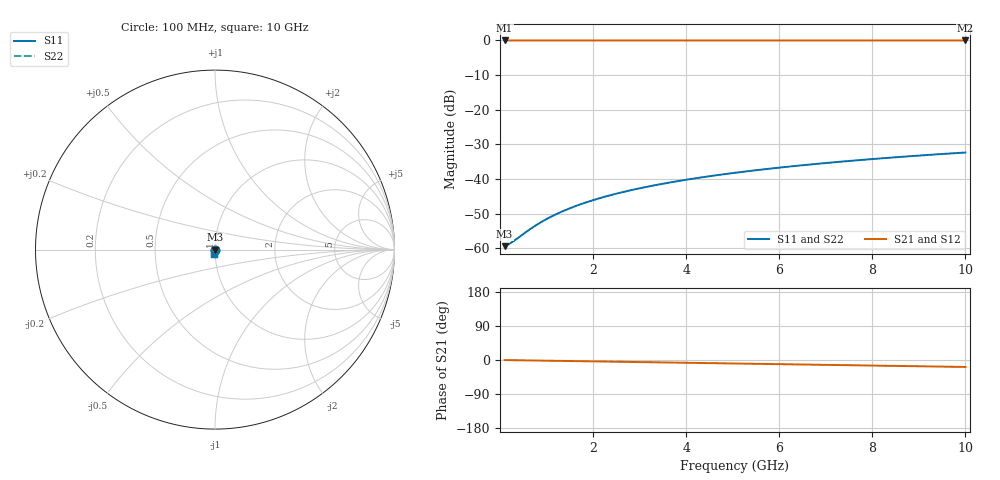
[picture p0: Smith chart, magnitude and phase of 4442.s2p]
# Hz S RI R 50.00
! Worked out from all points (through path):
!   100 points, 100 MHz to 10 GHz, reference 50 ohm
!   highest |S21| = -0.01 dB at 100 MHz (marker M1); lowest = 0.0 dB at 10 GHz (marker M2)
!   group delay of S21, straight-line fit = 5.1 ps
!   lowest |S11| = -59.4 dB at 100 MHz (marker M3), VSWR 1.00, Z = 50.1 - j0.0244 ohm
!   |S11| at or under -10 dB: start of sweep to end of sweep
!   |S22| runs from -59.4 to -32.4 dB; largest |S21 - S12| = 1e-13
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1e8  0.00104 -0.000243  0.999 -0.00318  0.999 -0.00318  0.00104 -0.000243
2e8  0.00104 -0.000487  0.9989 -0.00636  0.9989 -0.00636  0.00104 -0.000487
3e8  0.00104 -0.00073  0.9989 -0.00954  0.9989 -0.00954  0.00104 -0.00073
7e8  0.00102 -0.0017  0.9987 -0.0223  0.9987 -0.0223  0.00102 -0.0017
8e8  0.00101 -0.00195  0.9986 -0.0254  0.9986 -0.0254  0.00101 -0.00195
1e9  0.000981 -0.00243  0.9984 -0.0318  0.9984 -0.0318  0.000981 -0.00243
1.2e9  0.000949 -0.00292  0.9982 -0.0382  0.9982 -0.0382  0.000949 -0.00292
1.4e9  0.000909 -0.00341  0.9979 -0.0445  0.9979 -0.0445  0.000909 -0.00341
1.6e9  0.000863 -0.0039  0.9976 -0.0509  0.9976 -0.0509  0.000863 -0.0039
1.8e9  0.000811 -0.00438  0.9972 -0.0572  0.9972 -0.0572  0.000811 -0.00438
2.1e9  0.00072 -0.00511  0.9966 -0.0668  0.9966 -0.0668  0.00072 -0.00511
2.5e9  0.000578 -0.00609  0.9957 -0.0795  0.9957 -0.0795  0.000578 -0.00609
2.9e9  0.000409 -0.00706  0.9946 -0.0922  0.9946 -0.0922  0.000409 -0.00706
3.4e9  0.000164 -0.00827  0.9929 -0.1081  0.9929 -0.1081  0.000164 -0.00827
3.8e9  -6.05e-05 -0.00923  0.9914 -0.1207  0.9914 -0.1207  -6.05e-05 -0.00923
4.2e9  -0.00031 -0.0102  0.9898 -0.1334  0.9898 -0.1334  -0.00031 -0.0102
5.1e9  -0.000961 -0.0123  0.9855 -0.1619  0.9855 -0.1619  -0.000961 -0.0123
5.9e9  -0.00164 -0.0142  0.981 -0.1871  0.981 -0.1871  -0.00164 -0.0142
6.7e9  -0.00242 -0.016  0.9758 -0.2122  0.9758 -0.2122  -0.00242 -0.016
7.5e9  -0.0033 -0.0178  0.9699 -0.2373  0.9699 -0.2373  -0.0033 -0.0178
8.4e9  -0.00439 -0.0198  0.9626 -0.2653  0.9626 -0.2653  -0.00439 -0.0198
1e10  -0.0066 -0.0231  0.9474 -0.3147  0.9474 -0.3147  -0.0066 -0.0231
